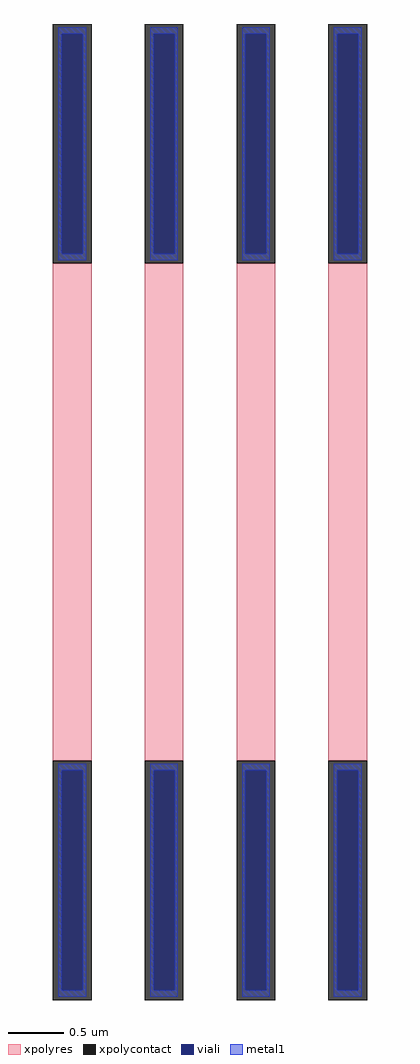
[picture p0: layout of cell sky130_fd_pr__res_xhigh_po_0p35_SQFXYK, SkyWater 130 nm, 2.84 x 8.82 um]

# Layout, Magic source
magic
tech sky130A
magscale 1 2
<< xpolycontact >>
rect -284 450 -214 882
rect -284 -882 -214 -450
rect -118 450 -48 882
rect -118 -882 -48 -450
rect 48 450 118 882
rect 48 -882 118 -450
rect 214 450 284 882
rect 214 -882 284 -450
<< xpolyres >>
rect -284 -450 -214 450
rect -118 -450 -48 450
rect 48 -450 118 450
rect 214 -450 284 450
<< viali >>
rect -268 467 -230 864
rect -102 467 -64 864
rect 64 467 102 864
rect 230 467 268 864
rect -268 -864 -230 -467
rect -102 -864 -64 -467
rect 64 -864 102 -467
rect 230 -864 268 -467
<< metal1 >>
rect -274 864 -224 876
rect -274 467 -268 864
rect -230 467 -224 864
rect -274 455 -224 467
rect -108 864 -58 876
rect -108 467 -102 864
rect -64 467 -58 864
rect -108 455 -58 467
rect 58 864 108 876
rect 58 467 64 864
rect 102 467 108 864
rect 58 455 108 467
rect 224 864 274 876
rect 224 467 230 864
rect 268 467 274 864
rect 224 455 274 467
rect -274 -467 -224 -455
rect -274 -864 -268 -467
rect -230 -864 -224 -467
rect -274 -876 -224 -864
rect -108 -467 -58 -455
rect -108 -864 -102 -467
rect -64 -864 -58 -467
rect -108 -876 -58 -864
rect 58 -467 108 -455
rect 58 -864 64 -467
rect 102 -864 108 -467
rect 58 -876 108 -864
rect 224 -467 274 -455
rect 224 -864 230 -467
rect 268 -864 274 -467
rect 224 -876 274 -864
<< properties >>
string gencell sky130_fd_pr__res_xhigh_po_0p35
string library sky130
string parameters w 0.35 l 4.5 m 1 nx 4 wmin 0.350 lmin 0.50 rho 2000 val 26.789k dummy 0 dw 0.0 term 188.2 sterm 0.0 caplen 0 wmax 0.350 guard 0 glc 1 grc 1 gtc 1 gbc 1 compatible {sky130_fd_pr__res_xhigh_po_0p35  sky130_fd_pr__res_xhigh_po_0p69 sky130_fd_pr__res_xhigh_po_1p41  sky130_fd_pr__res_xhigh_po_2p85 sky130_fd_pr__res_xhigh_po_5p73} snake 0 full_metal 1 n_guard 0 hv_guard 0 vias 1 viagb 0 viagt 0 viagl 0 viagr 0
<< end >>
